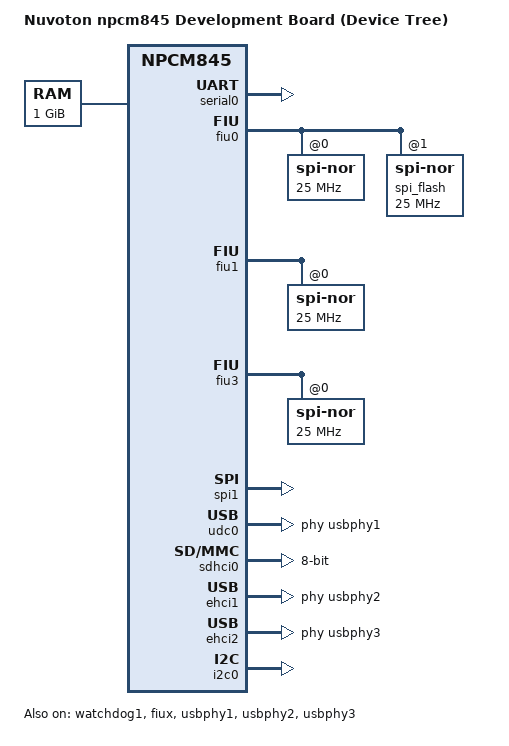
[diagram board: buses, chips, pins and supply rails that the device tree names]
// SPDX-License-Identifier: GPL-2.0
// Copyright (c) 2021 Nuvoton Technology tomer.maimon@nuvoton.com

/dts-v1/;
#include "nuvoton-npcm845.dtsi"
#include "nuvoton-npcm845-pincfg.dtsi"

/ {
	model = "Nuvoton npcm845 Development Board (Device Tree)";
	compatible = "nuvoton,npcm845-evb", "nuvoton,npcm845";

	aliases {
		serial0 = &serial0;
		i2c0 = &i2c0;
		spi0 = &fiu0;
		spi1 = &fiu1;
		spi3 = &fiu3;
		spi4 = &fiux;
		spi5 = &spi1;
		usb0 = &udc0;
		usb1 = &ehci1;
		usb2 = &ehci2;
	};

	chosen {
		stdout-path = &serial0;
	};

	memory {
		reg = <0x0 0x0 0x0 0x40000000>;
	};

	vsbr2: vsbr2 {
		compatible = "regulator-npcm845";
		regulator-name = "vr2";
		regulator-min-microvolt = <1800000>;
		regulator-max-microvolt = <3300000>;
		regulator-always-on;
	};

	vsbv8: vsbv8 {
		compatible = "regulator-npcm845";
		regulator-name = "v8";
		regulator-min-microvolt = <1800000>;
		regulator-max-microvolt = <3300000>;
		regulator-always-on;
	};

	vsbv5: vsbv5 {
		compatible = "regulator-npcm845";
		regulator-name = "v5";
		regulator-min-microvolt = <1800000>;
		regulator-max-microvolt = <3300000>;
		regulator-always-on;
	};

};

&serial0 {
	status = "okay";
};

&watchdog1 {
	status = "okay";
};

&fiu0 {
	status = "okay";
	pinctrl-names = "default";
	pinctrl-0 = <&spi0cs1_pins>;
	spi-nor@0 {
		compatible = "jedec,spi-nor";
		reg = <0>;
		spi-max-frequency = <25000000>;
	};
	spi_flash@1 {
		compatible = "jedec,spi-nor";
		reg = <1>;
		spi-max-frequency = <25000000>;
	};
};

&fiu1 {
	status = "okay";
	spi-nor@0 {
		compatible = "jedec,spi-nor";
		reg = <0>;
		spi-max-frequency = <25000000>;
	};
};

&fiu3 {
	pinctrl-0 = <&spi3_pins>, <&spi3quad_pins>;
	status = "okay";
	vqspi-supply = <&vsbv5>;
	vqspi-microvolt = <3300000>;
	spi-nor@0 {
		compatible = "jedec,spi-nor";
		reg = <0>;
		spi-max-frequency = <25000000>;
	};
};

&fiux {
	nuvoton,spix-mode;
	status = "okay";
};

&spi1 {
	status = "okay";
};

&usbphy1 {
	status = "okay";
};

&usbphy2 {
	status = "okay";
};

&usbphy3 {
	status = "okay";
};

&udc0 {
	status = "okay";
	phys = <&usbphy1 0>;
};

&sdhci0 {
	bus-width = <0x8>;
	status = "okay";
};

&ehci1 {
	status = "okay";
	phys = <&usbphy2 3>;
};

&ehci2 {
	status = "okay";
	phys = <&usbphy3 4>;
};

&i2c0 {
	status = "okay";
};

&pinctrl {
        pinctrl-names = "default";
        pinctrl-0 = <
		&gspi_pins
		&vgadig_pins
		&spix_pins
		&r1_pins
		&r1en_pins
		&r1oen_pins
	>;
};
